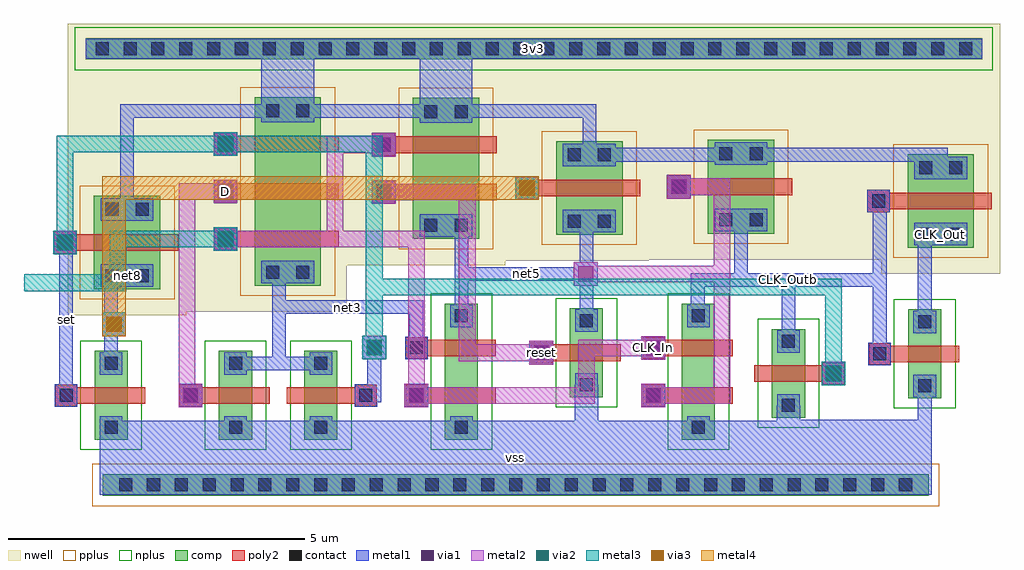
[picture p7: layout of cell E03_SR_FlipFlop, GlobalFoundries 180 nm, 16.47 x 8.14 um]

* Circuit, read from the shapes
.subckt E03_SR_FlipFlop 3v3 CLK_In CLK_Out CLK_Outb D net3 net5 net8 reset set vss
XM1 net8 set vss vss nfet_03v3 w=0.56u l=0.28u
XM2 net3 D vss vss nfet_03v3 w=0.56u l=0.28u
XM3 net3 set vss vss nfet_03v3 w=0.56u l=0.28u
XM4 n1 CLK_In vss vss nfet_03v3 w=0.56u l=0.28u
XM5 net5 net3 n1 vss nfet_03v3 w=0.56u l=0.28u
XM6 net5 reset vss vss nfet_03v3 w=0.56u l=0.28u
XM7 n2 net5 vss vss nfet_03v3 w=0.56u l=0.28u
XM8 CLK_Outb CLK_In n2 vss nfet_03v3 w=0.56u l=0.28u
XM9 CLK_Outb set vss vss nfet_03v3 w=0.56u l=0.28u
XM10 CLK_Out CLK_Outb vss vss nfet_03v3 w=0.56u l=0.28u
XM11 3v3 set net8 3v3 pfet_03v3 w=1.12u l=0.28u
XM12 n3 CLK_In net3 3v3 pfet_03v3 w=1.12u l=0.28u
XM13 n4 D n3 3v3 pfet_03v3 w=1.12u l=0.28u
XM14 3v3 set n4 3v3 pfet_03v3 w=1.12u l=0.28u
XM15 n5 reset net5 3v3 pfet_03v3 w=1.12u l=0.28u
XM16 3v3 CLK_In n5 3v3 pfet_03v3 w=1.12u l=0.28u
XM17 3v3 net8 net5 3v3 pfet_03v3 w=1.12u l=0.28u
XM18 3v3 net5 CLK_Outb 3v3 pfet_03v3 w=1.12u l=0.28u
XM19 3v3 CLK_Outb CLK_Out 3v3 pfet_03v3 w=1.12u l=0.28u
.ends

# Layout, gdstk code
import gdstk
lib = gdstk.Library(unit=1e-6, precision=1e-09)
def R(c, l, rs):  # rectangles x0, y0, x1, y1
    for r in rs: c.add(gdstk.rectangle(r[:2], r[2:], *l))
def A(c, l, x, y, w, h, nx, ny, dx, dy):  # array of equal rectangles
    R(c, l, [(x+i*dx, y+j*dy, x+i*dx+w, y+j*dy+h) for i in range(nx) for j in range(ny)])
def P(c, l, *ps):  # polygons
    for p in ps: c.add(gdstk.Polygon(p, *l))
nwell = (21, 0)
comp = (22, 0)
poly2 = (30, 0)
pplus = (31, 0)
nplus = (32, 0)
contact = (33, 0)
metal1 = (34, 0)
via1 = (35, 0)
metal2 = (36, 0)
via2 = (38, 0)
via3 = (40, 0)
metal3 = (42, 0)
metal4 = (46, 0)

e03_sr_flipflop = lib.new_cell('E03_SR_FlipFlop')
P(e03_sr_flipflop, nwell, [(-3.62,-0.02),(-3.62,4.9),(12.11,4.9),(12.11,0.68),(10.11,0.68),(10.11,0.92),(6.18,0.92),(6.18,0.9),(3.76,0.9),(3.76,0.83),(1.09,0.83),(1.09,0.04),(-1.62,0.04),(-1.62,-0.02)])
R(e03_sr_flipflop, comp, [(-3.03,-3.06,10.905,-2.7), (-3.17,-2.12,-2.61,-0.62), (-1.07,-2.12,-0.51,-0.62), (0.37,-2.12,0.93,-0.62), (2.74,-2.12,3.3,0.18), (6.74,-2.12,7.3,0.18), (8.26,-1.75,8.82,-0.25), (10.56,-1.42,11.12,0.08), (4.85,-1.4,5.41,0.1), (-3.18,0.42,-2.06,2), (-0.47,0.48,0.65,3.66), (10.55,1.12,11.67,2.7), (2.2,1.27,3.32,3.65), (4.62,1.34,5.74,2.92), (7.18,1.36,8.3,2.94), (-3.32,4.3,11.81,4.66)])
P(e03_sr_flipflop, poly2, [(-3.83,-1.55),(-3.83,-1.19),(-3.47,-1.19),(-3.47,-1.23),(-2.31,-1.23),(-2.31,-1.51),(-3.47,-1.51),(-3.47,-1.55)],
  [(-1.73,-1.55),(-1.73,-1.19),(-1.37,-1.19),(-1.37,-1.23),(-0.21,-1.23),(-0.21,-1.51),(-1.37,-1.51),(-1.37,-1.55)],
  [(1.23,-1.55),(1.23,-1.51),(0.07,-1.51),(0.07,-1.23),(1.23,-1.23),(1.23,-1.19),(1.59,-1.19),(1.59,-1.55)],
  [(2.08,-1.55),(2.08,-1.19),(2.44,-1.19),(2.44,-1.23),(3.6,-1.23),(3.6,-1.51),(2.44,-1.51),(2.44,-1.55)],
  [(6.08,-1.55),(6.08,-1.19),(6.44,-1.19),(6.44,-1.23),(7.6,-1.23),(7.6,-1.51),(6.44,-1.51),(6.44,-1.55)],
  [(9.12,-1.18),(9.12,-1.14),(7.96,-1.14),(7.96,-0.86),(9.12,-0.86),(9.12,-0.82),(9.48,-0.82),(9.48,-1.18)],
  [(9.9,-0.85),(9.9,-0.49),(10.26,-0.49),(10.26,-0.53),(11.42,-0.53),(11.42,-0.81),(10.26,-0.81),(10.26,-0.85)],
  [(4.19,-0.83),(4.19,-0.47),(4.55,-0.47),(4.55,-0.51),(5.71,-0.51),(5.71,-0.79),(4.55,-0.79),(4.55,-0.83)],
  [(2.08,-0.75),(2.08,-0.39),(2.44,-0.39),(2.44,-0.43),(3.6,-0.43),(3.6,-0.71),(2.44,-0.71),(2.44,-0.75)],
  [(6.08,-0.75),(6.08,-0.39),(6.44,-0.39),(6.44,-0.43),(7.6,-0.43),(7.6,-0.71),(6.44,-0.71),(6.44,-0.75)],
  [(-3.86,1.02),(-3.86,1.4),(-3.48,1.4),(-3.48,1.35),(-1.76,1.35),(-1.76,1.07),(-3.48,1.07),(-3.48,1.02)],
  [(-1.15,1.08),(-1.15,1.46),(-0.77,1.46),(-0.77,1.41),(0.95,1.41),(0.95,1.13),(-0.77,1.13),(-0.77,1.08)],
  [(9.87,1.72),(9.87,2.1),(10.25,2.1),(10.25,2.05),(11.97,2.05),(11.97,1.77),(10.25,1.77),(10.25,1.72)],
  [(1.52,1.87),(1.52,2.25),(1.9,2.25),(1.9,2.2),(3.62,2.2),(3.62,1.92),(1.9,1.92),(1.9,1.87)],
  [(-1.15,1.88),(-1.15,2.26),(-0.77,2.26),(-0.77,2.21),(0.95,2.21),(0.95,1.93),(-0.77,1.93),(-0.77,1.88)],
  [(3.94,1.94),(3.94,2.32),(4.32,2.32),(4.32,2.27),(6.04,2.27),(6.04,1.99),(4.32,1.99),(4.32,1.94)],
  [(6.5,1.96),(6.5,2.34),(6.88,2.34),(6.88,2.29),(8.6,2.29),(8.6,2.01),(6.88,2.01),(6.88,1.96)],
  [(1.52,2.67),(1.52,3.05),(1.9,3.05),(1.9,3),(3.62,3),(3.62,2.72),(1.9,2.72),(1.9,2.67)],
  [(-1.15,2.68),(-1.15,3.06),(-0.77,3.06),(-0.77,3.01),(0.95,3.01),(0.95,2.73),(-0.77,2.73),(-0.77,2.68)])
R(e03_sr_flipflop, pplus, [(-3.21,-3.24,11.085,-2.52), (-3.42,0.25,-1.82,2.17), (-0.71,0.31,0.89,3.83), (10.31,0.95,11.91,2.87), (1.96,1.1,3.56,3.82), (4.38,1.17,5.98,3.09), (6.94,1.19,8.54,3.11)])
R(e03_sr_flipflop, nplus, [(-3.41,-2.29,-2.37,-0.45), (-1.31,-2.29,-0.27,-0.45), (0.13,-2.29,1.17,-0.45), (2.5,-2.29,3.54,0.35), (6.5,-2.29,7.54,0.35), (8.02,-1.92,9.06,-0.08), (10.32,-1.59,11.36,0.25), (4.61,-1.57,5.65,0.27), (-3.5,4.12,11.99,4.84)])
A(e03_sr_flipflop, contact, -2.755, -2.99, 0.22, 0.22, 29, 1, 0.47, 0)
A(e03_sr_flipflop, contact, -1.07, 1.16, 0.22, 0.22, 1, 3, 0, 0.8)
A(e03_sr_flipflop, contact, -3.15, 4.37, 0.22, 0.22, 32, 1, 0.47, 0)
R(e03_sr_flipflop, contact, [(-3,-2.02,-2.78,-1.8), (-0.9,-2.02,-0.68,-1.8), (0.54,-2.02,0.76,-1.8), (2.91,-2.02,3.13,-1.8), (6.91,-2.02,7.13,-1.8), (8.43,-1.65,8.65,-1.43), (-3.76,-1.48,-3.54,-1.26), (-1.66,-1.48,-1.44,-1.26), (1.3,-1.48,1.52,-1.26), (2.15,-1.48,2.37,-1.26), (6.15,-1.48,6.37,-1.26), (10.73,-1.32,10.95,-1.1), (5.02,-1.3,5.24,-1.08), (9.19,-1.11,9.41,-0.89), (-3,-0.94,-2.78,-0.72), (-0.9,-0.94,-0.68,-0.72), (0.54,-0.94,0.76,-0.72), (9.97,-0.78,10.19,-0.56), (4.26,-0.76,4.48,-0.54), (2.15,-0.68,2.37,-0.46), (6.15,-0.68,6.37,-0.46), (8.43,-0.57,8.65,-0.35), (10.73,-0.24,10.95,-0.02), (5.02,-0.22,5.24,0), (2.91,-0.14,3.13,0.08), (6.91,-0.14,7.13,0.08), (-2.985,0.54,-2.765,0.76), (-2.475,0.54,-2.255,0.76), (-0.275,0.6,-0.055,0.82), (0.235,0.6,0.455,0.82), (-3.78,1.1,-3.56,1.32), (10.745,1.24,10.965,1.46), (11.255,1.24,11.475,1.46), (2.395,1.39,2.615,1.61), (2.905,1.39,3.125,1.61), (4.815,1.46,5.035,1.68), (5.325,1.46,5.545,1.68), (7.375,1.48,7.595,1.7), (7.885,1.48,8.105,1.7), (-2.985,1.66,-2.765,1.88), (-2.475,1.66,-2.255,1.88), (9.95,1.8,10.17,2.02), (1.6,1.95,1.82,2.17), (4.02,2.02,4.24,2.24), (6.58,2.04,6.8,2.26), (10.745,2.36,10.965,2.58), (11.255,2.36,11.475,2.58), (4.815,2.58,5.035,2.8), (5.325,2.58,5.545,2.8), (7.375,2.6,7.595,2.82), (7.885,2.6,8.105,2.82), (1.6,2.75,1.82,2.97), (2.395,3.31,2.615,3.53), (2.905,3.31,3.125,3.53), (-0.275,3.32,-0.055,3.54), (0.235,3.32,0.455,3.54)])
A(e03_sr_flipflop, metal1, -1.16, 1.07, 0.4, 0.4, 1, 3, 0, 0.8)
R(e03_sr_flipflop, metal1, [(-1.75,-1.565,-1.35,-1.17), (2.06,-1.565,2.46,-1.17), (6.06,-1.565,6.46,-1.17), (9.1,-1.2,9.5,-0.8), (4.17,-0.85,4.57,-0.45), (6.06,-0.77,6.46,-0.37), (1.51,1.86,1.91,2.26), (3.93,1.93,4.33,2.33), (6.49,1.95,6.89,2.345), (1.51,2.66,1.91,3.06)])
P(e03_sr_flipflop, metal1, [(-3.08,-3.05),(-3.08,-1.72),(-2.7,-1.72),(-2.7,-1.795),(-0.98,-1.795),(-0.98,-1.72),(-0.6,-1.72),(-0.6,-1.795),(0.46,-1.795),(0.46,-1.72),(0.84,-1.72),(0.84,-1.795),(2.83,-1.795),(2.83,-1.72),(3.21,-1.72),(3.21,-1.795),(4.93,-1.795),(4.93,-1.19),(4.94,-1.19),(4.94,-1),(5.32,-1),(5.32,-1.19),(5.33,-1.19),(5.33,-1.795),(6.83,-1.795),(6.83,-1.72),(7.21,-1.72),(7.21,-1.795),(8.34,-1.795),(8.34,-1.54),(8.35,-1.54),(8.35,-1.35),(8.73,-1.35),(8.73,-1.54),(8.74,-1.54),(8.74,-1.785),(10.725,-1.785),(10.725,-1.4),(10.65,-1.4),(10.65,-1.02),(11.03,-1.02),(11.03,-1.4),(10.955,-1.4),(10.955,-3.05)],
  [(1.22,-1.56),(1.22,-1.18),(1.435,-1.18),(1.435,-0.76),(1.35,-0.76),(1.35,-0.36),(1.75,-0.36),(1.75,-0.76),(1.665,-0.76),(1.665,-1.485),(1.6,-1.485),(1.6,-1.56)],
  [(-3.08,-1.02),(-3.08,-0.64),(-3.005,-0.64),(-3.005,-0.37),(-3.04,-0.37),(-3.04,0.03),(-3.005,0.03),(-3.005,0.46),(-3.065,0.46),(-3.065,0.84),(-2.175,0.84),(-2.175,0.46),(-2.775,0.46),(-2.775,0.03),(-2.64,0.03),(-2.64,-0.37),(-2.775,-0.37),(-2.775,-0.64),(-2.7,-0.64),(-2.7,-1.02)],
  [(-0.98,-1.02),(-0.98,-0.64),(-0.6,-0.64),(-0.6,-0.715),(-0.17,-0.715),(-0.17,0.52),(-0.355,0.52),(-0.355,0.9),(0.535,0.9),(0.535,0.52),(0.06,0.52),(0.06,0.235),(2.375,0.235),(2.375,-0.38),(2.45,-0.38),(2.45,-0.76),(2.07,-0.76),(2.07,-0.38),(2.145,-0.38),(2.145,0.005),(0.06,0.005),(0.06,-0.715),(0.46,-0.715),(0.46,-0.64),(0.84,-0.64),(0.84,-1.02),(0.46,-1.02),(0.46,-0.945),(-0.6,-0.945),(-0.6,-1.02)],
  [(-3.84,-1.56),(-3.84,-1.18),(-3.765,-1.18),(-3.765,1.01),(-3.87,1.01),(-3.87,1.41),(-3.47,1.41),(-3.47,1.01),(-3.535,1.01),(-3.535,-1.18),(-3.46,-1.18),(-3.46,-1.56)],
  [(10.65,-0.32),(10.65,0.06),(10.725,0.06),(10.725,1.16),(10.665,1.16),(10.665,1.54),(11.555,1.54),(11.555,1.16),(10.955,1.16),(10.955,0.06),(11.03,0.06),(11.03,-0.32)],
  [(4.94,-0.3),(4.94,0.08),(5.015,0.08),(5.015,0.48),(4.92,0.48),(4.92,0.565),(3.135,0.565),(3.135,0.16),(3.21,0.16),(3.21,-0.22),(2.83,-0.22),(2.83,0.16),(2.905,0.16),(2.905,1.31),(2.315,1.31),(2.315,1.69),(3.205,1.69),(3.205,1.31),(3.135,1.31),(3.135,0.795),(4.92,0.795),(4.92,0.88),(5.015,0.88),(5.015,1.38),(4.735,1.38),(4.735,1.76),(5.625,1.76),(5.625,1.38),(5.245,1.38),(5.245,0.88),(5.32,0.88),(5.32,0.48),(5.245,0.48),(5.245,0.08),(5.32,0.08),(5.32,-0.3)],
  [(9.89,-0.86),(9.89,-0.48),(9.965,-0.48),(9.965,0.465),(8.655,0.465),(8.655,-0.27),(8.73,-0.27),(8.73,-0.65),(8.35,-0.65),(8.35,-0.27),(8.425,-0.27),(8.425,0.465),(7.125,0.465),(7.125,0.16),(7.21,0.16),(7.21,-0.22),(6.83,-0.22),(6.83,0.16),(6.895,0.16),(6.895,0.695),(7.625,0.695),(7.625,1.4),(7.295,1.4),(7.295,1.78),(8.185,1.78),(8.185,1.4),(7.855,1.4),(7.855,0.695),(9.965,0.695),(9.965,1.72),(9.87,1.72),(9.87,2.1),(10.25,2.1),(10.25,1.72),(10.195,1.72),(10.195,-0.48),(10.27,-0.48),(10.27,-0.86)],
  [(-3.065,1.58),(-3.065,1.96),(-2.735,1.96),(-2.735,3.545),(-0.355,3.545),(-0.355,4.31),(0.535,4.31),(0.535,3.545),(2.315,3.545),(2.315,4.31),(-3.32,4.31),(-3.32,4.65),(11.81,4.65),(11.81,4.31),(3.205,4.31),(3.205,3.545),(5.295,3.545),(5.295,2.88),(5.625,2.88),(5.625,2.805),(7.295,2.805),(7.295,2.9),(8.185,2.9),(8.185,2.805),(11.225,2.805),(11.225,2.66),(11.555,2.66),(11.555,2.28),(10.665,2.28),(10.665,2.575),(8.185,2.575),(8.185,2.52),(7.295,2.52),(7.295,2.575),(5.625,2.575),(5.625,2.5),(4.735,2.5),(4.735,2.88),(5.065,2.88),(5.065,3.315),(3.205,3.315),(3.205,3.23),(2.315,3.23),(2.315,3.315),(0.535,3.315),(0.535,3.24),(-0.355,3.24),(-0.355,3.315),(-2.505,3.315),(-2.505,1.96),(-2.175,1.96),(-2.175,1.58)])
A(e03_sr_flipflop, via1, -1.09, 1.14, 0.26, 0.26, 1, 3, 0, 0.8)
R(e03_sr_flipflop, via1, [(-1.68,-1.5,-1.42,-1.24), (2.13,-1.5,2.39,-1.24), (6.13,-1.5,6.39,-1.24), (9.17,-1.13,9.43,-0.87), (4.24,-0.78,4.5,-0.52), (6.13,-0.7,6.39,-0.44), (1.42,-0.69,1.68,-0.43), (-2.97,-0.3,-2.71,-0.04), (4.99,0.55,5.25,0.81), (-3.8,1.08,-3.54,1.34), (1.58,1.93,1.84,2.19), (4,2,4.26,2.26), (6.56,2.02,6.82,2.28), (1.58,2.73,1.84,2.99)])
R(e03_sr_flipflop, metal2, [(9.1,-1.2,9.5,-0.8), (1.35,-0.76,1.75,-0.36), (-3.04,-0.37,-2.64,0.03), (-3.87,1.01,-3.47,1.41), (3.93,1.93,4.33,2.33), (-1.16,2.67,-0.76,3.07)])
P(e03_sr_flipflop, metal2, [(4.17,-0.85),(4.17,-0.79),(2.98,-0.79),(2.98,1.92),(1.91,1.92),(1.91,1.86),(1.51,1.86),(1.51,2.26),(1.91,2.26),(1.91,2.2),(3.26,2.2),(3.26,-0.51),(4.17,-0.51),(4.17,-0.45),(4.57,-0.45),(4.57,-0.85)],
  [(-1.75,-1.57),(-1.75,2.21),(-1.16,2.21),(-1.16,2.27),(-0.76,2.27),(-0.76,1.87),(-1.16,1.87),(-1.16,1.93),(-1.47,1.93),(-1.47,-1.17),(-1.35,-1.17),(-1.35,-1.57)],
  [(6.06,-1.57),(6.06,-1.17),(6.46,-1.17),(6.46,-1.23),(7.28,-1.23),(7.28,0.54),(5.32,0.54),(5.32,0.48),(4.92,0.48),(4.92,0.88),(5.32,0.88),(5.32,0.82),(7.28,0.82),(7.28,2.01),(6.89,2.01),(6.89,1.95),(6.49,1.95),(6.49,2.35),(6.89,2.35),(6.89,2.29),(7.56,2.29),(7.56,-1.51),(6.46,-1.51),(6.46,-1.57)],
  [(2.06,-1.57),(2.06,-1.17),(2.12,-1.17),(2.12,1.13),(-0.76,1.13),(-0.76,1.07),(-1.16,1.07),(-1.16,1.47),(-0.76,1.47),(-0.76,1.41),(0.75,1.41),(0.75,3),(1.51,3),(1.51,3.06),(1.91,3.06),(1.91,2.66),(1.51,2.66),(1.51,2.72),(1.03,2.72),(1.03,1.41),(2.4,1.41),(2.4,-1.17),(2.46,-1.17),(2.46,-1.23),(4.99,-1.23),(4.99,-0.43),(6.06,-0.43),(6.06,-0.37),(6.46,-0.37),(6.46,-0.77),(6.06,-0.77),(6.06,-0.71),(5.27,-0.71),(5.27,-1.51),(2.46,-1.51),(2.46,-1.57)])
R(e03_sr_flipflop, via2, [(9.17,-1.13,9.43,-0.87), (1.42,-0.69,1.68,-0.43), (-2.97,-0.3,-2.71,-0.04), (-3.8,1.08,-3.54,1.34), (-1.09,1.14,-0.83,1.4), (4,2,4.26,2.26), (-1.09,2.74,-0.83,3)])
R(e03_sr_flipflop, via3, [(-2.97,-0.3,-2.71,-0.04), (4,2,4.26,2.26)])
R(e03_sr_flipflop, metal3, [(-3.04,-0.37,-2.64,0.03), (3.93,1.93,4.33,2.33)])
P(e03_sr_flipflop, metal3, [(-4.36,0.39),(-4.36,0.67),(-2.915,0.67),(-2.915,1.41),(-1.16,1.41),(-1.16,1.47),(-0.76,1.47),(-0.76,1.07),(-1.16,1.07),(-1.16,1.13),(-2.635,1.13),(-2.635,0.39)],
  [(9.1,-1.2),(9.1,-0.8),(9.16,-0.8),(9.16,0.32),(1.69,0.32),(1.69,-0.36),(1.75,-0.36),(1.75,-0.76),(1.35,-0.76),(1.35,-0.36),(1.41,-0.36),(1.41,2.73),(-0.76,2.73),(-0.76,2.67),(-1.16,2.67),(-1.16,2.73),(-3.53,2.73),(-3.53,1.41),(-3.47,1.41),(-3.47,1.01),(-3.87,1.01),(-3.87,1.41),(-3.81,1.41),(-3.81,3.01),(-1.16,3.01),(-1.16,3.07),(-0.76,3.07),(-0.76,3.01),(1.69,3.01),(1.69,0.6),(9.44,0.6),(9.44,-0.8),(9.5,-0.8),(9.5,-1.2)])
P(e03_sr_flipflop, metal4, [(-3.04,-0.37),(-3.04,2.33),(4.33,2.33),(4.33,1.93),(-2.64,1.93),(-2.64,-0.37)])
e03_sr_flipflop.add(gdstk.Label('set', (-3.65,-0.085), layer=34, texttype=10))
e03_sr_flipflop.add(gdstk.Label('D', (-0.96,2.07), layer=34, texttype=10))
e03_sr_flipflop.add(gdstk.Label('CLK_In', (6.26,-0.57), layer=34, texttype=10))
e03_sr_flipflop.add(gdstk.Label('reset', (4.37,-0.65), layer=34, texttype=10))
e03_sr_flipflop.add(gdstk.Label('net8', (-2.62,0.65), layer=34, texttype=10))
e03_sr_flipflop.add(gdstk.Label('net3', (1.102,0.12), layer=34, texttype=10))
e03_sr_flipflop.add(gdstk.Label('net5', (4.112,0.68), layer=34, texttype=10))
e03_sr_flipflop.add(gdstk.Label('CLK_Outb', (8.545,0.58), layer=34, texttype=10))
e03_sr_flipflop.add(gdstk.Label('CLK_Out', (11.11,1.35), layer=34, texttype=10))
e03_sr_flipflop.add(gdstk.Label('3v3', (4.245,4.48), layer=34, texttype=10))
e03_sr_flipflop.add(gdstk.Label('vss', (3.937,-2.423), layer=34, texttype=10))

lib.write_gds('E03_SR_FlipFlop.gds')
